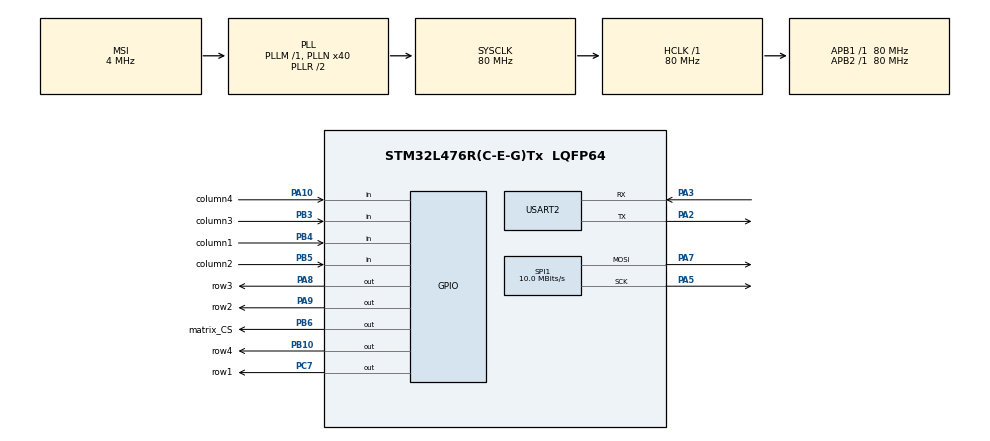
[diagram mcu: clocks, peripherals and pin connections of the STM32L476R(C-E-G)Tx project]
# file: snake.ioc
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Mcu.Family=STM32L4
Mcu.Name=STM32L476R(C-E-G)Tx
Mcu.Package=LQFP64
NVIC.PriorityGroup=NVIC_PRIORITYGROUP_4
NVIC.USART2_IRQn=true\:15\:0\:true\:false\:true\:true\:true\:true
PA10.GPIO_Label=column4
PA10.GPIO_PuPd=GPIO_PULLUP
PA10.Signal=GPIO_Input
PA13\ (JTMS-SWDIO).Mode=Serial_Wire
PA13\ (JTMS-SWDIO).Signal=SYS_JTMS-SWDIO
PA14\ (JTCK-SWCLK).Mode=Serial_Wire
PA14\ (JTCK-SWCLK).Signal=SYS_JTCK-SWCLK
PA2.Mode=Asynchronous
PA2.Signal=USART2_TX
PA3.Mode=Asynchronous
PA3.Signal=USART2_RX
PA5.Mode=TX_Only_Simplex_Unidirect_Master
PA5.Signal=SPI1_SCK
PA7.Mode=TX_Only_Simplex_Unidirect_Master
PA7.Signal=SPI1_MOSI
PA8.GPIO_Label=row3
PA8.PinState=GPIO_PIN_SET
PA8.Signal=GPIO_Output
PA9.GPIO_Label=row2
PA9.PinState=GPIO_PIN_SET
PA9.Signal=GPIO_Output
PB10.GPIO_Label=row4
PB10.PinState=GPIO_PIN_SET
PB10.Signal=GPIO_Output
PB3\ (JTDO-TRACESWO).GPIO_Label=column3
PB3\ (JTDO-TRACESWO).GPIO_PuPd=GPIO_PULLUP
PB3\ (JTDO-TRACESWO).Signal=GPIO_Input
PB4\ (NJTRST).GPIO_Label=column1
PB4\ (NJTRST).GPIO_PuPd=GPIO_PULLUP
PB4\ (NJTRST).Signal=GPIO_Input
PB5.GPIO_Label=column2
PB5.GPIO_PuPd=GPIO_PULLUP
PB5.Signal=GPIO_Input
PB6.GPIO_Label=matrix_CS
PB6.PinState=GPIO_PIN_SET
PB6.Signal=GPIO_Output
PC7.GPIO_Label=row1
PC7.PinState=GPIO_PIN_SET
PC7.Signal=GPIO_Output
ProjectManager.HeapSize=0x200
ProjectManager.StackSize=0x400
ProjectManager.TargetToolchain=STM32CubeIDE
RCC.AHBFreq_Value=80000000
RCC.APB1Freq_Value=80000000
RCC.APB1TimFreq_Value=80000000
RCC.APB2Freq_Value=80000000
RCC.APB2TimFreq_Value=80000000
RCC.CortexFreq_Value=80000000
RCC.HCLKFreq_Value=80000000
RCC.HSE_VALUE=8000000
RCC.HSI_VALUE=16000000
RCC.LSE_VALUE=32768
RCC.MSI_VALUE=4000000
RCC.PLLN=40
RCC.SYSCLKFreq_VALUE=80000000
RCC.SYSCLKSource=RCC_SYSCLKSOURCE_PLLCLK
RCC.VCOOutputFreq_Value=160000000
SPI1.BaudRatePrescaler=SPI_BAUDRATEPRESCALER_8
SPI1.CalculateBaudRate=10.0 MBits/s
SPI1.DataSize=SPI_DATASIZE_8BIT
SPI1.Direction=SPI_DIRECTION_2LINES
SPI1.Mode=SPI_MODE_MASTER
SPI1.VirtualType=VM_MASTER
USART2.OverrunDisableParam=ADVFEATURE_OVERRUN_DISABLE
USART2.VirtualMode-Asynchronous=VM_ASYNC
board=custom

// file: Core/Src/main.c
/* USER CODE BEGIN Header */
/**
  ******************************************************************************
  * @file           : main.c
  * @brief          : Main program body
  ******************************************************************************
  * @attention
  *
  * Copyright (c) 2026 STMicroelectronics.
  * All rights reserved.
  *
  * This software is licensed under terms that can be found in the LICENSE file
  * in the root directory of this software component.
  * If no LICENSE file comes with this software, it is provided AS-IS.
  *
  ******************************************************************************
  */
/* USER CODE END Header */
#include "main.h"
#include "spi.h"
#include "usart.h"
#include "gpio.h"

/* USER CODE BEGIN Includes */
#include "my_uart.h"
#include "keyboard.h"
#include "snake.h"
/* USER CODE END Includes */

/* USER CODE BEGIN PV */
uart_t uart2 = {
  .uart_handle = &huart2
};
gpio_t keyboard_inputs[4] = {
  {.port = column1_GPIO_Port, .pin = column1_Pin},
  {.port = column2_GPIO_Port, .pin = column2_Pin},
  {.port = column3_GPIO_Port, .pin = column3_Pin},
  {.port = column4_GPIO_Port, .pin = column4_Pin},
};
gpio_t keyboard_outputs[4] = {
  {.port = row1_GPIO_Port, .pin = row1_Pin},
  {.port = row2_GPIO_Port, .pin = row2_Pin},
  {.port = row3_GPIO_Port, .pin = row3_Pin},
  {.port = row4_GPIO_Port, .pin = row4_Pin}
};
keyboard_t keyboard = {
  .columns = 4,
  .rows = 4,
  .inputs = keyboard_inputs,
  .outputs = keyboard_outputs
};

max7219_t led_matrix = {
  .cs_pin = matrix_CS_Pin,
  .cs_port = matrix_CS_GPIO_Port,
  .spi_handle = &hspi1
};

rabbit_t rabbit = {
	.sead = 23
};

snake_t snake = {
  .led_matrix = &led_matrix,
  .rabbit = &rabbit,
  .keyboard = &keyboard
};

game_state_t game_state = MENU;

uint8_t key = 50;
uint8_t prev_key = 0;

uint32_t current_time = 0;
uint32_t previous_time = 0;

/* USER CODE END PV */

void SystemClock_Config(void);

int main(void)
{

  /* MCU Configuration--------------------------------------------------------*/

  /* Reset of all peripherals, Initializes the Flash interface and the Systick. */
  HAL_Init();

  /* Configure the system clock */
  SystemClock_Config();

  /* Initialize all configured peripherals */
  MX_GPIO_Init();
  MX_SPI1_Init();
  MX_USART2_UART_Init();
  /* USER CODE BEGIN 2 */
  my_uart_init(&uart2);
  keyboard_init(&keyboard);
  max7219_init(&led_matrix);

  //draw_snake(&snake);
  //max7219_set_pixel(&led_matrix, 0, 0);
  //max7219_set_pixel(&led_matrix, 3, 1);
  /* USER CODE END 2 */

  /* Infinite loop */
  /* USER CODE BEGIN WHILE */
  while (1)
  {
    switch(game_state){
    case MENU:
      if(snake_check_keyboard(&snake) == keyENTER){
        snake_init(&snake);
        game_state = GAME;
      }
      break;
    case GAME:
      snake_check_direction(&snake);
      if(current_time - previous_time > 1000){
        previous_time = current_time;
        snake_count(&snake);
        snake_draw(&snake);
      }
      if(snake_check_keyboard(&snake) == keyENTER){
        game_state = PAUSE;
      }
      if(snake.collision){
        game_state = MENU;
      }

      break;
    case PAUSE:
      if(snake_check_keyboard(&snake) != keyENTER && snake_check_keyboard(&snake) != 0){
        previous_time = current_time;
        game_state = GAME;
      }
      break;
    }
    current_time = HAL_GetTick();

    /* USER CODE END WHILE */

  }
}

void SystemClock_Config(void)
{
  RCC_OscInitTypeDef RCC_OscInitStruct = {0};
  RCC_ClkInitTypeDef RCC_ClkInitStruct = {0};

  /** Configure the main internal regulator output voltage
  */
  if (HAL_PWREx_ControlVoltageScaling(PWR_REGULATOR_VOLTAGE_SCALE1) != HAL_OK)
  {
    Error_Handler();
  }

  /** Initializes the RCC Oscillators according to the specified parameters
  * in the RCC_OscInitTypeDef structure.
  */
  RCC_OscInitStruct.OscillatorType = RCC_OSCILLATORTYPE_MSI;
  RCC_OscInitStruct.MSIState = RCC_MSI_ON;
  RCC_OscInitStruct.MSICalibrationValue = 0;
  RCC_OscInitStruct.MSIClockRange = RCC_MSIRANGE_6;
  RCC_OscInitStruct.PLL.PLLState = RCC_PLL_ON;
  RCC_OscInitStruct.PLL.PLLSource = RCC_PLLSOURCE_MSI;
  RCC_OscInitStruct.PLL.PLLM = 1;
  RCC_OscInitStruct.PLL.PLLN = 40;
  RCC_OscInitStruct.PLL.PLLP = RCC_PLLP_DIV7;
  RCC_OscInitStruct.PLL.PLLQ = RCC_PLLQ_DIV2;
  RCC_OscInitStruct.PLL.PLLR = RCC_PLLR_DIV2;
  if (HAL_RCC_OscConfig(&RCC_OscInitStruct) != HAL_OK)
  {
    Error_Handler();
  }

  /** Initializes the CPU, AHB and APB buses clocks
  */
  RCC_ClkInitStruct.ClockType = RCC_CLOCKTYPE_HCLK|RCC_CLOCKTYPE_SYSCLK
                              |RCC_CLOCKTYPE_PCLK1|RCC_CLOCKTYPE_PCLK2;
  RCC_ClkInitStruct.SYSCLKSource = RCC_SYSCLKSOURCE_PLLCLK;
  RCC_ClkInitStruct.AHBCLKDivider = RCC_SYSCLK_DIV1;
  RCC_ClkInitStruct.APB1CLKDivider = RCC_HCLK_DIV1;
  RCC_ClkInitStruct.APB2CLKDivider = RCC_HCLK_DIV1;

  if (HAL_RCC_ClockConfig(&RCC_ClkInitStruct, FLASH_LATENCY_4) != HAL_OK)
  {
    Error_Handler();
  }
}

void Error_Handler(void)
{
  __disable_irq();
  while (1)
  {
  }
}
